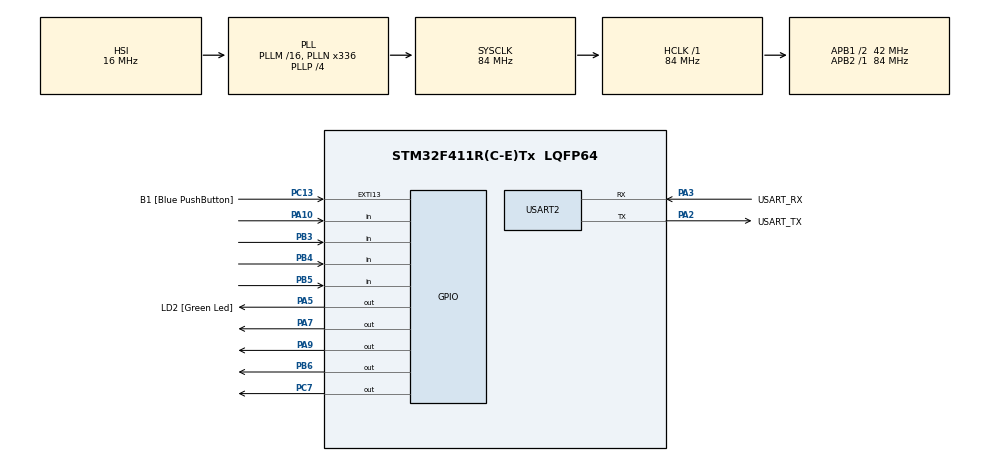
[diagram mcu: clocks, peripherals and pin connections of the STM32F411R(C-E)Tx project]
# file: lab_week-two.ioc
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Mcu.Family=STM32F4
Mcu.Name=STM32F411R(C-E)Tx
Mcu.Package=LQFP64
NVIC.PriorityGroup=NVIC_PRIORITYGROUP_0
PA10.GPIO_PuPd=GPIO_PULLUP
PA10.Signal=GPIO_Input
PA13.GPIO_Label=TMS
PA13.Mode=Serial_Wire
PA13.Signal=SYS_JTMS-SWDIO
PA14.GPIO_Label=TCK
PA14.Mode=Serial_Wire
PA14.Signal=SYS_JTCK-SWCLK
PA2.GPIO_Label=USART_TX
PA2.Mode=Asynchronous
PA2.Signal=USART2_TX
PA3.GPIO_Label=USART_RX
PA3.Mode=Asynchronous
PA3.Signal=USART2_RX
PA5.GPIO_Label=LD2 [Green Led]
PA5.Signal=GPIO_Output
PA7.GPIO_ModeDefaultOutputPP=GPIO_MODE_OUTPUT_OD
PA7.PinState=GPIO_PIN_SET
PA7.Signal=GPIO_Output
PA9.GPIO_ModeDefaultOutputPP=GPIO_MODE_OUTPUT_OD
PA9.PinState=GPIO_PIN_SET
PA9.Signal=GPIO_Output
PB3.GPIO_PuPd=GPIO_PULLUP
PB3.Signal=GPIO_Input
PB4.GPIO_PuPd=GPIO_PULLUP
PB4.Signal=GPIO_Input
PB5.GPIO_PuPd=GPIO_PULLUP
PB5.Signal=GPIO_Input
PB6.GPIO_ModeDefaultOutputPP=GPIO_MODE_OUTPUT_OD
PB6.PinState=GPIO_PIN_SET
PB6.Signal=GPIO_Output
PC13-ANTI_TAMP.GPIO_Label=B1 [Blue PushButton]
PC13-ANTI_TAMP.GPIO_ModeDefaultEXTI=GPIO_MODE_IT_FALLING
PC13-ANTI_TAMP.Signal=GPXTI13
PC14-OSC32_IN.Mode=LSE-External-Oscillator
PC14-OSC32_IN.Signal=RCC_OSC32_IN
PC15-OSC32_OUT.Mode=LSE-External-Oscillator
PC15-OSC32_OUT.Signal=RCC_OSC32_OUT
PC7.GPIO_ModeDefaultOutputPP=GPIO_MODE_OUTPUT_OD
PC7.PinState=GPIO_PIN_SET
PC7.Signal=GPIO_Output
PH0\ -\ OSC_IN.Mode=HSE-External-Clock-Source
PH0\ -\ OSC_IN.Signal=RCC_OSC_IN
PH1\ -\ OSC_OUT.Mode=HSE-External-Clock-Source
PH1\ -\ OSC_OUT.Signal=RCC_OSC_OUT
ProjectManager.HeapSize=0x200
ProjectManager.StackSize=0x400
ProjectManager.TargetToolchain=STM32CubeIDE
RCC.48MHZClocksFreq_Value=84000000
RCC.AHBFreq_Value=84000000
RCC.APB1CLKDivider=RCC_HCLK_DIV2
RCC.APB1Freq_Value=42000000
RCC.APB1TimFreq_Value=84000000
RCC.APB2Freq_Value=84000000
RCC.APB2TimFreq_Value=84000000
RCC.CortexFreq_Value=84000000
RCC.FLatency-AdvancedSettings=FLASH_LATENCY_2
RCC.HCLKFreq_Value=84000000
RCC.HSE_VALUE=8000000
RCC.HSI_VALUE=16000000
RCC.PLLN=336
RCC.PLLP=RCC_PLLP_DIV4
RCC.SYSCLKFreq_VALUE=84000000
RCC.SYSCLKSource=RCC_SYSCLKSOURCE_PLLCLK
RCC.VCOOutputFreq_Value=336000000
USART2.VirtualMode=VM_ASYNC
board=NUCLEO-F411RE

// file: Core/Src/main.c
/* USER CODE BEGIN Header */
/**
  ******************************************************************************
  * @file           : main.c
  * @brief          : Main program body
  ******************************************************************************
  * @attention
  *
  * <h2><center>&copy; Copyright (c) 2021 STMicroelectronics.
  * All rights reserved.</center></h2>
  *
  * This software component is licensed by ST under BSD 3-Clause license,
  * the "License"; You may not use this file except in compliance with the
  * License. You may obtain a copy of the License at:
  *                        opensource.org/licenses/BSD-3-Clause
  *
  ******************************************************************************
  */
/* USER CODE END Header */
#include "main.h"

UART_HandleTypeDef huart2;

/* USER CODE BEGIN PV */
uint16_t ButtonMatrixstate=0;
uint32_t timestamp=0;
uint16_t register_ID=0;
int count=0;
int State=0;
int six=0;
int two=0;
int three=0;
int four=0;
int zero=0;
int five=0;

/* USER CODE END PV */

void SystemClock_Config(void);
static void MX_GPIO_Init(void);
static void MX_USART2_UART_Init(void);

int main(void)
{

  /* MCU Configuration--------------------------------------------------------*/

  /* Reset of all peripherals, Initializes the Flash interface and the Systick. */
  HAL_Init();

  /* Configure the system clock */
  SystemClock_Config();

  /* Initialize all configured peripherals */
  MX_GPIO_Init();
  MX_USART2_UART_Init();

  /* Infinite loop */
  while (1)
  {

    /* USER CODE BEGIN 3 */
	  ButtonMatrixUpdate();
  }
  /* USER CODE END 3 */
}

void SystemClock_Config(void)
{
  RCC_OscInitTypeDef RCC_OscInitStruct = {0};
  RCC_ClkInitTypeDef RCC_ClkInitStruct = {0};

  /** Configure the main internal regulator output voltage
  */
  __HAL_RCC_PWR_CLK_ENABLE();
  __HAL_PWR_VOLTAGESCALING_CONFIG(PWR_REGULATOR_VOLTAGE_SCALE1);
  /** Initializes the RCC Oscillators according to the specified parameters
  * in the RCC_OscInitTypeDef structure.
  */
  RCC_OscInitStruct.OscillatorType = RCC_OSCILLATORTYPE_HSI;
  RCC_OscInitStruct.HSIState = RCC_HSI_ON;
  RCC_OscInitStruct.HSICalibrationValue = RCC_HSICALIBRATION_DEFAULT;
  RCC_OscInitStruct.PLL.PLLState = RCC_PLL_ON;
  RCC_OscInitStruct.PLL.PLLSource = RCC_PLLSOURCE_HSI;
  RCC_OscInitStruct.PLL.PLLM = 16;
  RCC_OscInitStruct.PLL.PLLN = 336;
  RCC_OscInitStruct.PLL.PLLP = RCC_PLLP_DIV4;
  RCC_OscInitStruct.PLL.PLLQ = 4;
  if (HAL_RCC_OscConfig(&RCC_OscInitStruct) != HAL_OK)
  {
    Error_Handler();
  }
  /** Initializes the CPU, AHB and APB buses clocks
  */
  RCC_ClkInitStruct.ClockType = RCC_CLOCKTYPE_HCLK|RCC_CLOCKTYPE_SYSCLK
                              |RCC_CLOCKTYPE_PCLK1|RCC_CLOCKTYPE_PCLK2;
  RCC_ClkInitStruct.SYSCLKSource = RCC_SYSCLKSOURCE_PLLCLK;
  RCC_ClkInitStruct.AHBCLKDivider = RCC_SYSCLK_DIV1;
  RCC_ClkInitStruct.APB1CLKDivider = RCC_HCLK_DIV2;
  RCC_ClkInitStruct.APB2CLKDivider = RCC_HCLK_DIV1;

  if (HAL_RCC_ClockConfig(&RCC_ClkInitStruct, FLASH_LATENCY_2) != HAL_OK)
  {
    Error_Handler();
  }
}

static void MX_USART2_UART_Init(void)
{

  huart2.Instance = USART2;
  huart2.Init.BaudRate = 115200;
  huart2.Init.WordLength = UART_WORDLENGTH_8B;
  huart2.Init.StopBits = UART_STOPBITS_1;
  huart2.Init.Parity = UART_PARITY_NONE;
  huart2.Init.Mode = UART_MODE_TX_RX;
  huart2.Init.HwFlowCtl = UART_HWCONTROL_NONE;
  huart2.Init.OverSampling = UART_OVERSAMPLING_16;
  if (HAL_UART_Init(&huart2) != HAL_OK)
  {
    Error_Handler();
  }

}

static void MX_GPIO_Init(void)
{
  GPIO_InitTypeDef GPIO_InitStruct = {0};

  /* GPIO Ports Clock Enable */
  __HAL_RCC_GPIOC_CLK_ENABLE();
  __HAL_RCC_GPIOH_CLK_ENABLE();
  __HAL_RCC_GPIOA_CLK_ENABLE();
  __HAL_RCC_GPIOB_CLK_ENABLE();

  /*Configure GPIO pin Output Level */
  HAL_GPIO_WritePin(LD2_GPIO_Port, LD2_Pin, GPIO_PIN_RESET);

  /*Configure GPIO pin Output Level */
  HAL_GPIO_WritePin(GPIOA, GPIO_PIN_7|GPIO_PIN_9, GPIO_PIN_SET);

  /*Configure GPIO pin Output Level */
  HAL_GPIO_WritePin(GPIOC, GPIO_PIN_7, GPIO_PIN_SET);

  /*Configure GPIO pin Output Level */
  HAL_GPIO_WritePin(GPIOB, GPIO_PIN_6, GPIO_PIN_SET);

  /*Configure GPIO pin : B1_Pin */
  GPIO_InitStruct.Pin = B1_Pin;
  GPIO_InitStruct.Mode = GPIO_MODE_IT_FALLING;
  GPIO_InitStruct.Pull = GPIO_NOPULL;
  HAL_GPIO_Init(B1_GPIO_Port, &GPIO_InitStruct);

  /*Configure GPIO pin : LD2_Pin */
  GPIO_InitStruct.Pin = LD2_Pin;
  GPIO_InitStruct.Mode = GPIO_MODE_OUTPUT_PP;
  GPIO_InitStruct.Pull = GPIO_NOPULL;
  GPIO_InitStruct.Speed = GPIO_SPEED_FREQ_LOW;
  HAL_GPIO_Init(LD2_GPIO_Port, &GPIO_InitStruct);

  /*Configure GPIO pins : PA7 PA9 */
  GPIO_InitStruct.Pin = GPIO_PIN_7|GPIO_PIN_9;
  GPIO_InitStruct.Mode = GPIO_MODE_OUTPUT_OD;
  GPIO_InitStruct.Pull = GPIO_NOPULL;
  GPIO_InitStruct.Speed = GPIO_SPEED_FREQ_LOW;
  HAL_GPIO_Init(GPIOA, &GPIO_InitStruct);

  /*Configure GPIO pin : PC7 */
  GPIO_InitStruct.Pin = GPIO_PIN_7;
  GPIO_InitStruct.Mode = GPIO_MODE_OUTPUT_OD;
  GPIO_InitStruct.Pull = GPIO_NOPULL;
  GPIO_InitStruct.Speed = GPIO_SPEED_FREQ_LOW;
  HAL_GPIO_Init(GPIOC, &GPIO_InitStruct);

  /*Configure GPIO pin : PA10 */
  GPIO_InitStruct.Pin = GPIO_PIN_10;
  GPIO_InitStruct.Mode = GPIO_MODE_INPUT;
  GPIO_InitStruct.Pull = GPIO_PULLUP;
  HAL_GPIO_Init(GPIOA, &GPIO_InitStruct);

  /*Configure GPIO pins : PB3 PB4 PB5 */
  GPIO_InitStruct.Pin = GPIO_PIN_3|GPIO_PIN_4|GPIO_PIN_5;
  GPIO_InitStruct.Mode = GPIO_MODE_INPUT;
  GPIO_InitStruct.Pull = GPIO_PULLUP;
  HAL_GPIO_Init(GPIOB, &GPIO_InitStruct);

  /*Configure GPIO pin : PB6 */
  GPIO_InitStruct.Pin = GPIO_PIN_6;
  GPIO_InitStruct.Mode = GPIO_MODE_OUTPUT_OD;
  GPIO_InitStruct.Pull = GPIO_NOPULL;
  GPIO_InitStruct.Speed = GPIO_SPEED_FREQ_LOW;
  HAL_GPIO_Init(GPIOB, &GPIO_InitStruct);

}

/* USER CODE BEGIN 4 */
GPIO_TypeDef *ButtonPort[8] ={ GPIOA, GPIOB, GPIOB, GPIOB, GPIOA, GPIOC, GPIOB, GPIOA };

uint16_t ButtonPin[8] = { GPIO_PIN_10, GPIO_PIN_3, GPIO_PIN_5, GPIO_PIN_4, GPIO_PIN_9, GPIO_PIN_7, GPIO_PIN_6, GPIO_PIN_7 };
uint8_t ButtonMatrixRow=0;
void ButtonMatrixUpdate()
{
	if(HAL_GetTick()-timestamp>=100)
	{
		timestamp=HAL_GetTick();
		int i;
		for(i=0;i<4;i++)
		{
			GPIO_PinState PinState=HAL_GPIO_ReadPin(ButtonPort[i], ButtonPin[i]);
			if(PinState ==GPIO_PIN_RESET)
			{
				ButtonMatrixstate |=(uint16_t)1 <<(i+ButtonMatrixRow*4);
				register_ID=register_ID<<1;
				switch(State)
				{
				case 0:
					if(ButtonMatrixstate==0b1000000)//6
					{
						register_ID |=1;
						count+=1;
						six+=1;
						State=1;
					}
					else
					{
						State=0;
					}
					break;
				case 1:
					if(ButtonMatrixstate==0b1000000000)//2
					{
						register_ID |=1;
						count+=1;
						two+=1;
						State=2;
					}
					else
					{
						State=0;
					}
					break;
				case 2 :
					if(ButtonMatrixstate==0b10000000000)//3
					{
						register_ID |=1;
						count+=1;
						three+=1;
						State=3;
					}
					else
					{
						State=0;
					}
					break;
				case 3:
					if(ButtonMatrixstate==0b10000)//4
					{
						register_ID |=1;
						count+=1;
						four+=1;
						State=4;
					}
					else
					{
						State=0;
					}
					break;
				case 4:
					if(ButtonMatrixstate==0b1000000000000)//0
					{
						register_ID |=1;
						count+=1;
						zero+=1;
						State=5;
					}
					else
					{
						State=0;
					}
					break;
				case 5:
					if(ButtonMatrixstate==0b100000)//5
					{
						register_ID |=1;
						count+=1;
						five+=1;
						State=6;
					}
					else
					{
						State=0;
					}
					break;
				case 6:
					if(ButtonMatrixstate==0b1000000000000)//0
					{
						register_ID |=1;
						count+=1;
						zero+=1;
						State=7;
					}
					else
					{
						State=0;
					}
					break;
				case 7:
					if(ButtonMatrixstate==0b1000000000000)//0
					{
						register_ID |=1;
						count+=1;
						zero+=1;
						State=8;
					}
					else
					{
						State=0;
					}
					break;
				case 8:
					if(ButtonMatrixstate==0b1000000000000)//0
					{
						register_ID |=1;
						count+=1;
						zero+=1;
						State=9;
					}
					else
					{
						State=0;
					}
					break;
				case 9:
					if(ButtonMatrixstate==0b100000)//5
					{
						register_ID|=1;
						count+=1;
						five+=1;
						State=10;
					}
					else
					{
						State=0;
					}
					break;
				case 10:
					if(ButtonMatrixstate==0b1000000000)//2
					{
						register_ID|=1;
						count+=1;
						two+=1;
						State=11;
					}
					else
					{
						State=0;
					}
					break;
				case 11:
					if(ButtonMatrixstate==0b1000000000000000)//ok
					{
						register_ID |=1;
						if(HAL_GPIO_ReadPin(GPIOA, GPIO_PIN_5)==GPIO_PIN_RESET&& register_ID==0b111111111111 &&count==11 && six==1 && two==2 && three==1 && four==1 && five==2 && zero== 4)
						{
							HAL_GPIO_WritePin(GPIOA, GPIO_PIN_5, GPIO_PIN_SET);
						}
					}
					else
					{
						State=0;
					}
					break;
				}
				if(ButtonMatrixstate==0b1000)
				{
					register_ID=0;
					count=0;
					six=0;
					two=0;
					three=0;
					four=0;
					zero=0;
					five=0;
					if(HAL_GPIO_ReadPin(GPIOA, GPIO_PIN_5)==GPIO_PIN_SET)
					{
						HAL_GPIO_WritePin(GPIOA, GPIO_PIN_5, GPIO_PIN_RESET);
					}
				}
			}
			else
			{
				ButtonMatrixstate &= ~((uint16_t) 1 << (i + ButtonMatrixRow * 4));
			}
		}
		uint8_t NowOutputPin = ButtonMatrixRow + 4;
		HAL_GPIO_WritePin(ButtonPort[NowOutputPin],ButtonPin[NowOutputPin], 1);
		ButtonMatrixRow = (ButtonMatrixRow + 1) % 4;
		uint8_t NextOutputPin = ButtonMatrixRow + 4;
		HAL_GPIO_WritePin(ButtonPort[NextOutputPin],ButtonPin[NextOutputPin], 0);
	}
}

/* USER CODE END 4 */

void Error_Handler(void)
{
  __disable_irq();
  while (1)
  {
  }
}

/************************ (C) COPYRIGHT STMicroelectronics *****END OF FILE****/
